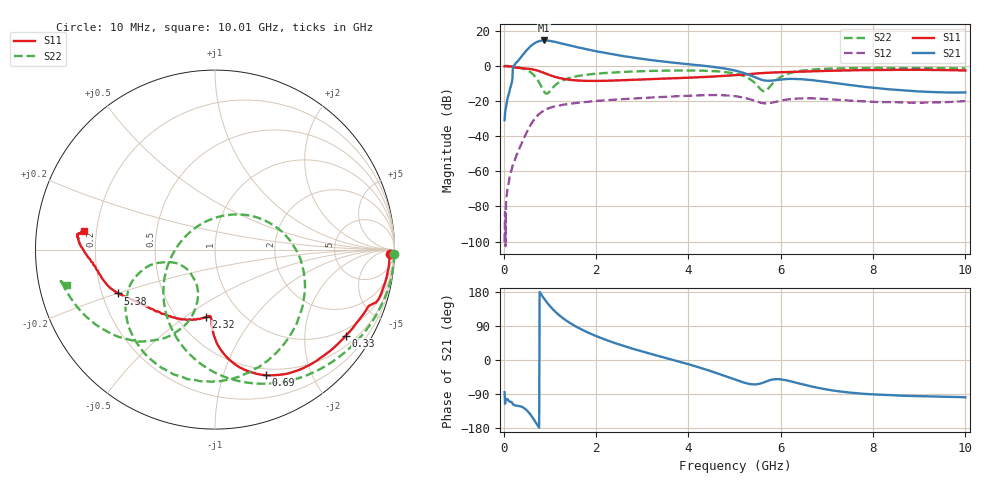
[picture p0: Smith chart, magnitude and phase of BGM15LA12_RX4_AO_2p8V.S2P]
!Agilent Technologies,E5071C,MY46317100,A.11.08
!Date: Fri Dec 19 16:09:37 2014
!Data & Calibration Information:
!Freq	S11:SOLT2(ON)	S21:SOLT2(ON)	S12:SOLT2(ON)	S22:SOLT2(ON)
!PortZ  Port1:50+j0  Port2:50+j0
!Above PortZ is port z conversion or system Z0 setting when saving the data.
!When reading, reference impedance value at option line is always used.
# Hz S RI R 50
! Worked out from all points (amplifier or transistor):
!   1001 points, 10 MHz to 10.01 GHz, reference 50 ohm
!   highest |S21| = 14.4 dB at 870 MHz (marker M1)
!   |S21| within 3 dB of that: 585.6 MHz to 1.451 GHz (865.5 MHz wide, 85 % of centre)
!   unconditionally stable (mu >= 1): start of sweep to end of sweep
!   at 1.67 GHz: K = 1.25, MAG = 12.4 dB, |S12| = -20.8 dB
!   at 5.01 GHz: K = 2.57, MAG = 0.4 dB, |S12| = -17.3 dB
!   at 10.01 GHz: K = 4.42, MAG = -6.9 dB, |S12| = -20.1 dB
!   lowest NFmin = 0.93 dB at 650 MHz
!   S11 on the Smith chart (normalised r, x): 10 MHz: 41, -39; 330 MHz: 0.79, -3.17; 690 MHz: 0.43, -1.40; 2.32 GHz: 0.69, -0.60; 5.38 GHz: 0.27, -0.20; 10.01 GHz: 0.15, +0.07
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1e7  0.9746 -0.0237  0.0025 -0.0282  7.53e-06 -6.24e-06  0.9993 -0.0257
1.3e8  0.9367 -0.2152  -0.0794 -0.2175  -0.000721 0.000318  0.9252 -0.3137
2.3e8  0.8225 -0.3653  -0.5312 -0.9338  -0.00195 0.000648  0.7876 -0.5124
3.3e8  0.7296 -0.479  -0.8159 -1.322  -0.00431 0.000745  0.593 -0.6617
4.4e8  0.6175 -0.5824  -1.429 -1.857  -0.00938 0.00127  0.3187 -0.7451
5.5e8  0.4833 -0.6642  -2.61 -2.136  -0.0176 0.00476  0.00946 -0.6902
6.9e8  0.2847 -0.7  -4.485 -1.173  -0.0286 0.0188  -0.2656 -0.3793
7.8e8  0.1692 -0.671  -5.119 0.218  -0.0306 0.0328  -0.2742 -0.1257
8.7e8  0.0858 -0.6186  -5.003 1.677  -0.0271 0.0467  -0.1692 0.0681
1.01e9  0.0155 -0.5319  -3.888 3.261  -0.0148 0.0631  0.0665 0.1921
1.16e9  -0.0104 -0.4626  -2.436 3.929  0.000825 0.073  0.2733 0.1643
1.4e9  -0.0188 -0.4039  -0.6637 3.816  0.0238 0.079  0.4472 0.00581
1.68e9  -0.0228 -0.377  0.5228 3.139  0.0461 0.0789  0.5011 -0.1873
2.32e9  -0.0514 -0.3767  1.447 1.616  0.0849 0.0657  0.4033 -0.5006
3.35e9  -0.1779 -0.3885  1.35 0.2513  0.1257 0.0263  0.1113 -0.7149
5.01e9  -0.4631 -0.279  0.4554 -0.5772  0.1072 -0.0855  -0.4972 -0.3488
5.38e9  -0.5393 -0.2441  0.2236 -0.4605  0.0698 -0.0811  -0.3691 -0.0906
5.63e9  -0.591 -0.2065  0.1971 -0.3334  0.0628 -0.0588  -0.1514 -0.1141
5.83e9  -0.6232 -0.1686  0.2386 -0.2989  0.0755 -0.0499  -0.101 -0.2998
6.68e9  -0.6949 -0.0565  0.1334 -0.3687  0.0768 -0.0907  -0.6562 -0.4238
8.35e9  -0.7608 0.0649  -0.00825 -0.2149  0.0347 -0.0862  -0.8534 -0.1773
1.001e10  -0.7286 0.1015  -0.0255 -0.1731  0.0284 -0.095  -0.8218 -0.1947
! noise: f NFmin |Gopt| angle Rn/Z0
6.5e+08  0.9326  0.3804  37.75  0.3873
6.6e+08  0.9405  0.4147  39.62  0.2819
7e+08  0.9672  0.3968  47.85  0.2059
8e+08  0.9885  0.4285  55.86  0.1931
8.5e+08  0.9935  0.4108  59.95  0.1859
9.5e+08  1.006  0.3864  65.26  0.1925
1e+09  1.03  0.3827  67.93  0.1894
1.3e+09  1.126  0.3821  86.36  0.1681
1.4e+09  1.119  0.3745  92.89  0.1668
1.6e+09  1.206  0.3527  103.9  0.1509
